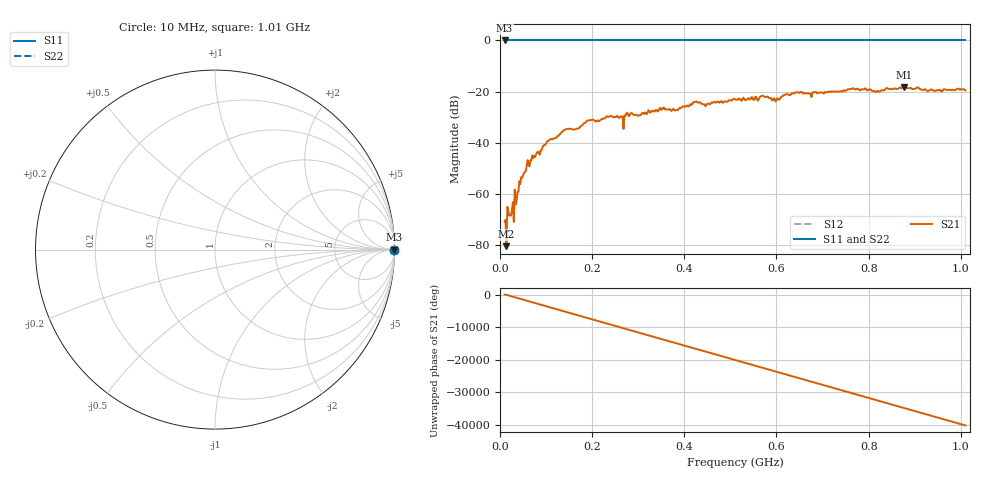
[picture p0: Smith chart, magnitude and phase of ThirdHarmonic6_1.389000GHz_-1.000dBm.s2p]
! 8/16/2025 3:49:36 PM
! C:\ANRITSUVNA\TEMP\TEMP.S2P
! CHANNEL.1
! TR.MEASUREMENT
! RAW.DATA
! RF.CORRECTION.OFF
! AVERAGING.OFF
! IF.BANDWIDTH: 5KHZ
! SWEEPTYPE:  FREQ.SWEEP(Linear)
! Reference Plane Port Info
! PORT:  PORT1  PORT2
! DISTANCE:  0  m  0  m
! TIME:  0  s  0  s
! PHASE.OFFSET:  0  deg.  0  deg.
! LOSS:  0  dB  0  dB
! REF.LOSS:  0  dB  0  dB
! REF.FREQ:  0  Hz  0  Hz
! Power Info
! POWER:  -20  dBm  -20  dBm
! EFF.POWER:  -20  dBm  -20  dBm
! SOURCE.ATTEN:  0  dB  0  dB
! TEST.ATTEN:  0  dB  0  dB
# GHZ S RI R 50.0
! FREQ.GHZ  S11RE  S11IM  S21RE  S21IM  S12RE  S12IM  S22RE  S22IM
!; PortSelection: Port_12
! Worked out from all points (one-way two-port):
!   501 points, 10 MHz to 1.01 GHz, reference 50 ohm
!   highest |S21| = -18.21 dB at 876 MHz (marker M1); lowest = -80.5 dB at 14 MHz (marker M2)
!   lowest |S11| = 0.0 dB at 10 MHz (marker M3)
!   |S11| at or under -10 dB: nowhere
!   |S22| runs from 0.0 to 0.0 dB; largest |S21 - S12| = 1.1
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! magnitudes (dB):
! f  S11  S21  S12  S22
! 10 MHz  0.0  -70.8  0.0  0.0
! 14 MHz  0.0  -80.5  0.0  0.0
! 18 MHz  0.0  -66.6  0.0  0.0
! 20 MHz  0.0  -68.5  0.0  0.0
! 26 MHz  0.0  -66.1  0.0  0.0
! 46 MHz  0.0  -53.5  0.0  0.0
! 70 MHz  0.0  -45.0  0.0  0.0
! 106 MHz  0.0  -39.2  0.0  0.0
! 178 MHz  0.0  -33.2  0.0  0.0
! 194 MHz  0.0  -31.2  0.0  0.0
! 236 MHz  0.0  -29.9  0.0  0.0
! 264 MHz  0.0  -29.9  0.0  0.0
! 274 MHz  0.0  -28.6  0.0  0.0
! 344 MHz  0.0  -27.6  0.0  0.0
! 510 MHz  0.0  -22.9  0.0  0.0
! 570 MHz  0.0  -21.6  0.0  0.0
! 602 MHz  0.0  -22.6  0.0  0.0
! 644 MHz  0.0  -20.3  0.0  0.0
! 678 MHz  0.0  -20.4  0.0  0.0
! 844 MHz  0.0  -19.0  0.0  0.0
! 876 MHz  0.0  -18.2  0.0  0.0
! 1.01 GHz  0.0  -19.5  0.0  0.0
